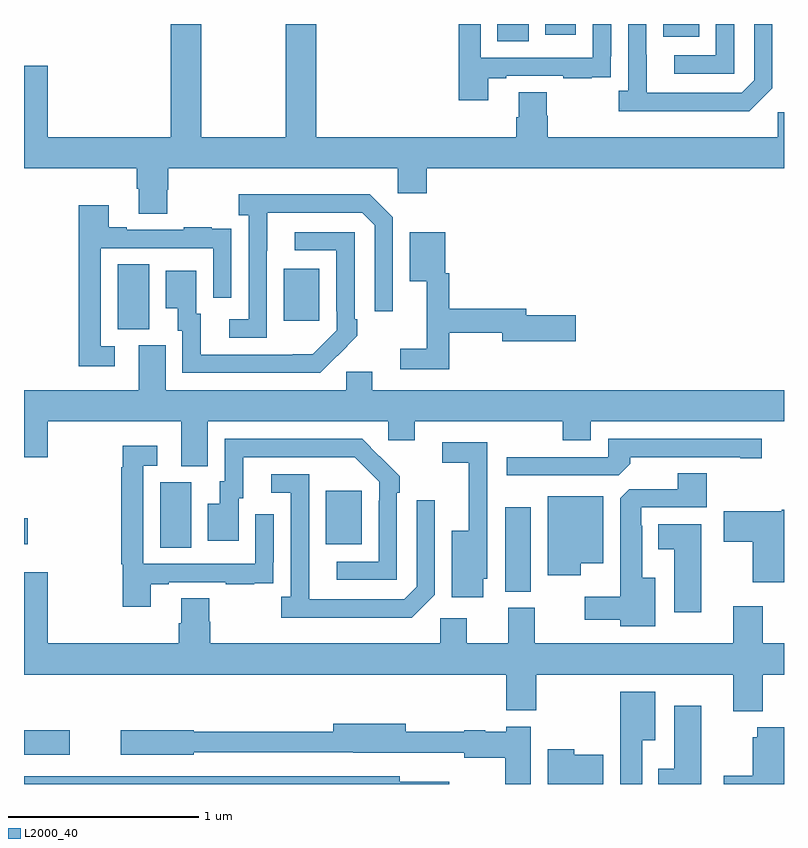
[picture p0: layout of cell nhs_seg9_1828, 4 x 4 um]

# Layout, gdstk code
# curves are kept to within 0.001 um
import gdstk
lib = gdstk.Library(unit=1e-6, precision=1e-09)
def R(c, l, rs):  # rectangles x0, y0, x1, y1
    for r in rs: c.add(gdstk.rectangle(r[:2], r[2:], *l))
def P(c, l, *ps):  # polygons
    for p in ps: c.add(gdstk.Polygon(p, *l))
L2000_40 = (2000, 40)

nhs_seg9_1828 = lib.new_cell('nhs_seg9_1828')
R(nhs_seg9_1828, L2000_40, [(213,1206.653,213.241,1206.783), (215.534,1207.513,215.668,1207.957), (213.716,1207.744,213.88,1208.088), (213,1207.763,213.019,1207.898), (214.589,1207.763,214.777,1208.044), (213.494,1208.893,213.658,1209.236), (214.367,1208.937,214.555,1209.211), (215.492,1210.408,215.656,1210.5), (216.365,1210.433,216.553,1210.5), (215.744,1210.443,215.905,1210.5)])
P(nhs_seg9_1828, L2000_40, [(216.939,1210.161),(216.939,1210.5),(216.843,1210.5),(216.843,1210.203),(216.777,1210.137),(216.277,1210.137),(216.276,1210.5),(216.18,1210.5),(216.18,1210.15),(216.129,1210.15),(216.129,1210.04),(216.818,1210.04)],
  [(217,1210.036),(216.966,1210.036),(216.966,1209.904),(215.756,1209.904),(215.756,1210.017),(215.751,1210.017),(215.751,1210.142),(215.603,1210.142),(215.603,1210.01),(215.591,1210.01),(215.591,1209.904),(214.538,1209.904),(214.538,1210.5),(214.378,1210.5),(214.378,1209.904),(213.933,1209.904),(213.933,1210.5),(213.773,1210.5),(213.773,1209.904),(213.124,1209.904),(213.124,1210.279),(213,1210.279),(213,1209.74),(213.593,1209.74),(213.593,1209.634),(213.605,1209.634),(213.605,1209.502),(213.753,1209.502),(213.753,1209.627),(213.758,1209.627),(213.758,1209.74),(214.968,1209.74),(214.968,1209.609),(215.12,1209.609),(215.12,1209.74),(217,1209.74)],
  [(215.443,1210.215),(215.539,1210.215),(215.539,1210.227),(215.839,1210.227),(215.839,1210.215),(215.987,1210.215),(215.987,1210.221),(216.089,1210.221),(216.089,1210.33),(216.09,1210.33),(216.09,1210.5),(215.994,1210.5),(215.994,1210.323),(215.403,1210.323),(215.403,1210.5),(215.287,1210.5),(215.287,1210.098),(215.443,1210.098)],
  [(216.738,1210.5),(216.642,1210.5),(216.642,1210.335),(216.423,1210.335),(216.423,1210.239),(216.738,1210.239)],
  [(214.278,1209.307),(214.279,1209.507),(214.779,1209.507),(214.845,1209.441),(214.845,1208.988),(214.941,1208.988),(214.941,1209.483),(214.82,1209.604),(214.131,1209.604),(214.131,1209.494),(214.182,1209.494),(214.182,1208.946),(214.08,1208.946),(214.08,1208.85),(214.278,1208.85)],
  [(213.478,1208.805),(213.405,1208.805),(213.405,1209.321),(213.996,1209.321),(213.996,1209.06),(214.092,1209.06),(214.092,1209.314),(214.091,1209.314),(214.091,1209.423),(213.989,1209.423),(213.989,1209.43),(213.841,1209.43),(213.841,1209.417),(213.541,1209.417),(213.541,1209.43),(213.445,1209.43),(213.445,1209.547),(213.289,1209.547),(213.289,1208.7),(213.478,1208.7)],
  [(214.649,1208.755),(214.65,1208.754),(214.755,1208.859),(214.755,1208.947),(214.74,1208.947),(214.74,1209.405),(214.425,1209.405),(214.425,1209.309),(214.644,1209.309),(214.644,1208.989),(214.647,1208.989),(214.647,1208.889),(214.519,1208.761),(213.931,1208.76),(213.931,1208.976),(213.907,1208.976),(213.907,1209.202),(213.746,1209.202),(213.746,1209.005),(213.809,1209.005),(213.809,1208.886),(213.834,1208.886),(213.834,1208.664),(214.558,1208.664)],
  [(215.237,1208.874),(215.516,1208.874),(215.516,1208.831),(215.905,1208.831),(215.905,1208.966),(215.644,1208.966),(215.644,1209.002),(215.237,1209.002),(215.237,1209.189),(215.218,1209.189),(215.218,1209.403),(215.03,1209.403),(215.03,1209.146),(215.12,1209.146),(215.12,1208.791),(214.98,1208.791),(214.98,1208.682),(215.237,1208.682)],
  [(213.967,1208.408),(214.917,1208.408),(214.917,1208.31),(215.056,1208.31),(215.056,1208.408),(215.836,1208.408),(215.836,1208.309),(215.983,1208.309),(215.983,1208.408),(217,1208.408),(217,1208.572),(214.834,1208.572),(214.834,1208.67),(214.695,1208.67),(214.695,1208.572),(213.745,1208.572),(213.745,1208.808),(213.605,1208.808),(213.605,1208.572),(213,1208.572),(213,1208.22),(213.124,1208.22),(213.124,1208.408),(213.827,1208.408),(213.827,1208.173),(213.967,1208.173)],
  [(214.962,1208.033),(214.977,1208.033),(214.977,1208.121),(214.78,1208.316),(214.056,1208.316),(214.056,1208.094),(214.031,1208.094),(214.031,1207.975),(213.968,1207.975),(213.968,1207.779),(214.129,1207.779),(214.129,1208.004),(214.153,1208.004),(214.153,1208.22),(214.741,1208.22),(214.869,1208.091),(214.869,1207.991),(214.866,1207.991),(214.866,1207.671),(214.647,1207.671),(214.647,1207.575),(214.962,1207.575)],
  [(216.191,1208.186),(216.191,1208.22),(216.77,1208.22),(216.77,1208.215),(216.883,1208.215),(216.883,1208.316),(216.075,1208.316),(216.075,1208.22),(215.541,1208.22),(215.541,1208.124),(216.129,1208.124)],
  [(215.416,1207.581),(215.439,1207.581),(215.439,1208.298),(215.202,1208.298),(215.202,1208.19),(215.342,1208.19),(215.342,1207.834),(215.252,1207.834),(215.252,1207.484),(215.416,1207.484)],
  [(213.667,1207.551),(213.763,1207.551),(213.763,1207.563),(214.063,1207.563),(214.063,1207.551),(214.211,1207.551),(214.211,1207.557),(214.313,1207.557),(214.313,1207.666),(214.314,1207.666),(214.314,1207.921),(214.218,1207.921),(214.218,1207.659),(213.627,1207.659),(213.627,1208.175),(213.7,1208.175),(213.7,1208.281),(213.519,1208.281),(213.519,1208.168),(213.511,1208.168),(213.511,1207.656),(213.519,1207.656),(213.519,1207.434),(213.667,1207.434)],
  [(216.322,1207.585),(216.253,1207.585),(216.253,1207.859),(216.249,1207.859),(216.249,1207.956),(216.593,1207.956),(216.593,1208.135),(216.44,1208.135),(216.44,1208.052),(216.186,1208.052),(216.137,1208.003),(216.137,1207.486),(215.952,1207.486),(215.952,1207.364),(216.137,1207.364),(216.137,1207.331),(216.322,1207.331)],
  [(215.163,1207.497),(215.163,1207.993),(215.067,1207.993),(215.067,1207.539),(215.001,1207.473),(214.5,1207.473),(214.5,1208.13),(214.302,1208.13),(214.302,1208.034),(214.404,1208.034),(214.404,1207.486),(214.353,1207.486),(214.353,1207.376),(215.042,1207.376)],
  [(215.929,1207.661),(216.049,1207.661),(216.049,1208.014),(215.756,1208.014),(215.756,1207.598),(215.929,1207.598)],
  [(217,1207.944),(216.987,1207.944),(216.987,1207.936),(216.684,1207.936),(216.684,1207.774),(216.836,1207.774),(216.836,1207.563),(217,1207.563)],
  [(216.565,1207.867),(216.338,1207.867),(216.338,1207.736),(216.422,1207.736),(216.422,1207.404),(216.565,1207.404)],
  [(215.329,1207.372),(215.19,1207.372),(215.19,1207.24),(213.98,1207.24),(213.98,1207.353),(213.975,1207.353),(213.975,1207.478),(213.827,1207.478),(213.827,1207.346),(213.815,1207.346),(213.815,1207.24),(213.124,1207.24),(213.124,1207.615),(213,1207.615),(213,1207.076),(215.537,1207.076),(215.537,1206.887),(215.697,1206.887),(215.697,1207.076),(216.734,1207.076),(216.734,1206.884),(216.887,1206.884),(216.887,1207.076),(217,1207.076),(217,1207.24),(216.887,1207.24),(216.887,1207.435),(216.734,1207.435),(216.734,1207.24),(215.689,1207.24),(215.689,1207.428),(215.549,1207.428),(215.549,1207.24),(215.329,1207.24)],
  [(216.253,1206.731),(216.322,1206.731),(216.322,1206.985),(216.137,1206.985),(216.137,1206.5),(216.253,1206.5)],
  [(216.565,1206.913),(216.422,1206.913),(216.422,1206.58),(216.338,1206.58),(216.338,1206.5),(216.565,1206.5)],
  [(215.668,1206.802),(215.538,1206.802),(215.538,1206.775),(215.427,1206.775),(215.427,1206.783),(215.316,1206.783),(215.316,1206.775),(215.008,1206.775),(215.008,1206.817),(214.628,1206.817),(214.628,1206.775),(213.894,1206.775),(213.894,1206.783),(213.51,1206.783),(213.51,1206.653),(213.894,1206.653),(213.894,1206.666),(214.732,1206.666),(214.732,1206.665),(215.316,1206.665),(215.316,1206.638),(215.534,1206.638),(215.534,1206.5),(215.668,1206.5)],
  [(217,1206.799),(216.859,1206.799),(216.859,1206.745),(216.836,1206.745),(216.836,1206.543),(216.684,1206.543),(216.684,1206.5),(217,1206.5)],
  [(216.049,1206.655),(215.895,1206.655),(215.895,1206.682),(215.756,1206.682),(215.756,1206.5),(216.049,1206.5)],
  [(215.239,1206.511),(214.978,1206.511),(214.978,1206.54),(213,1206.54),(213,1206.5),(215.239,1206.5)])

lib.write_gds('nhs_seg9_1828.gds')
